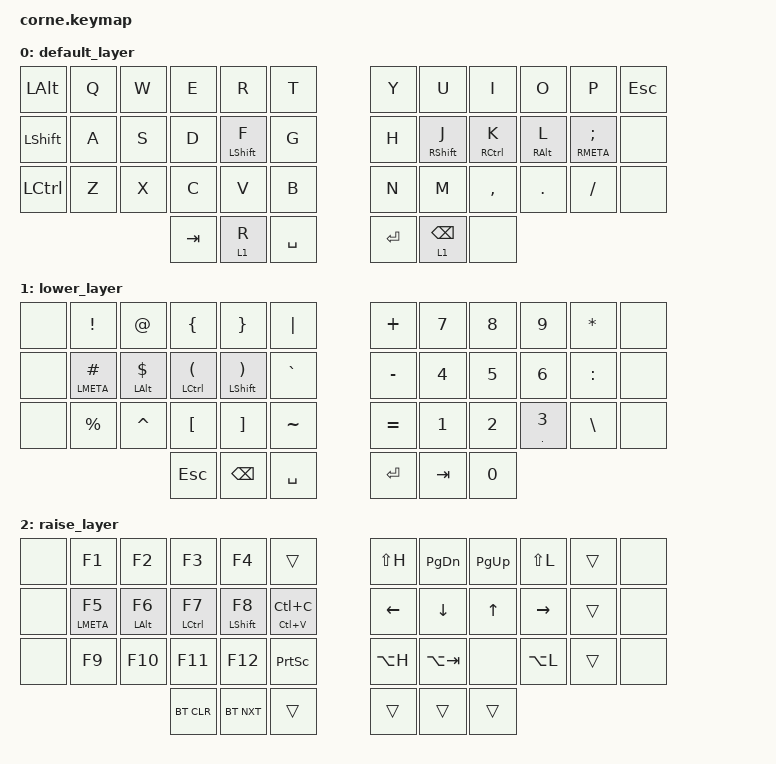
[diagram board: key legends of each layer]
/*
 * Copyright (c) 2020 The ZMK Contributors
 *
 * SPDX-License-Identifier: MIT
 */

#include <behaviors.dtsi>
#include <dt-bindings/zmk/keys.h>
#include <dt-bindings/zmk/bt.h>

/ {
    behaviors {
        weak: weak {
            compatible = "zmk,behavior-hold-tap";
            label = "WEAK";
            bindings = <&kp>, <&kp>;

            #binding-cells = <2>;
            tapping-term-ms = <230>;
            flavor = "tap-preferred";
            require-prior-idle-ms = <125>;
            quick-tap-ms = <230>;
        };

        shifthr: shifthr {
            compatible = "zmk,behavior-hold-tap";
            label = "SHIFTHR";
            bindings = <&kp>, <&kp>;

            #binding-cells = <2>;
            tapping-term-ms = <185>;
            flavor = "tap-preferred";
            quick-tap-ms = <185>;
        };

        hm: homerow_mods {
            compatible = "zmk,behavior-hold-tap";
            label = "HOMEROW_MODS";
            bindings = <&kp>, <&kp>;

            #binding-cells = <2>;
            tapping-term-ms = <200>;
            flavor = "tap-preferred";
            require-prior-idle-ms = <125>;
            quick-tap-ms = <200>;
        };
    };

        keymap {
                compatible = "zmk,keymap";

                default_layer {
// -----------------------------------------------------------------------------------------
// |  ALT |  Q  |  W  |  E  |  R  |  T  |   |  Y  |  U  |  I  |  O  |  P  |      |
// | SHFT |  A  |  S  |  D  |  F  |  G  |   |  H  |  J  |  K  |  L  |  ;  |      |
// | CTRL |  Z  |  X  |  C  |  V  |  B  |   |  N  |  M  |  ,  |  .  |  /  |      |
//                    | TAB | LWR | SPC |   | ENT | RSE | BSC |
// -----------------------------------------------------------------------------------------
// |      |     |     |     |     |     |   |     |     |     |     |     |      |
// |      | WIN | ALT | CTL | SHF |     |   |     | SHF | CTL | ALT | WIN |      |
// |      |     |     |     |     |     |   |     |     |     |     |     |      |
//                    |     |     |     |   |     |     |     |

                        bindings = <
   &kp LALT &kp Q         &kp W            &kp E            &kp R             &kp T        &kp Y     &kp U             &kp I            &kp O        &kp P         &kp ESC
   &kp LSHIFT &kp A         &kp S            &kp D            &shifthr LSHIFT F &kp G        &kp H     &shifthr RSHIFT J &shifthr RCTRL K &weak RALT L &weak RMETA SEMI &none
   &kp LCTRL &kp Z         &kp X            &kp C             &kp V             &kp B        &kp N     &kp M             &kp COMMA        &kp DOT      &kp FSLH      &none
                                        &kp TAB          &lt 1 R           &kp SPACE &kp RET      &lt 1 BACKSPACE   &none
                        >;
                };
                lower_layer {
// -----------------------------------------------------------------------------------------
// |      |  !  |  @  |  {  |  }  |  |  |   |  +  |  7  |  8  |  9  |  *  |      |
// |      |  #  |  $  |  (  |  )  |  `  |   |  -  |  4  |  5  |  6  |  :  |      |
// |      |  %  |  ^  |  [  |  ]  |  ~  |   |  =  |  1  |  2  |  3  |  \  |      |
//                    | ESC | BSP | SPC |   | ENT | TAB |  0  |
                        bindings = <
   &none &kp EXCL       &kp AT          &kp LBRC       &kp RBRC        &kp PIPE  &kp PLUS  &kp N7  &kp N8 &kp N9             &kp ASTERISK  &none
   &none &hm LMETA HASH &hm LALT DOLLAR &hm LCTRL LPAR &hm LSHIFT RPAR &kp GRAVE &kp MINUS &kp N4  &kp N5 &kp N6             &kp COLON     &none
   &none &kp PERCENT    &kp CARET       &kp LBKT       &kp RBKT        &kp TILDE &kp EQUAL &kp N1  &kp N2 &shifthr PERIOD N3 &kp BACKSLASH &none
                                        &kp ESC        &kp BACKSPACE   &kp SPACE &kp RET    &kp TAB &kp N0
                        >;
                };

                raise_layer {
// -----------------------------------------------------------------------------------------
// |      | F1  | F2  | F3  | F4  |     |   | SH  | PUP | PDN | SL  |     |      |
// |      | F5  | F6  | F7  | F8  | CPP |   | <-  | DWN | UP  | ->  |     |      |
// |      | F9  | F10 | F11 | F12 | PSC |   | AH  | ATB |     | AL  |     |      |
//                    | CLR | NXT |     |   |     |     |     |
                        bindings = <
   &none &kp F1       &kp F2      &kp F3       &kp F4        &trans          &kp LS(H)   &kp PG_DN   &kp PG_UP &kp LS(L) &trans &none
   &none &hm LMETA F5 &hm LALT F6 &hm LCTRL F7 &hm LSHIFT F8 &hm LC(V) LC(C) &kp LEFT    &kp DOWN    &kp UP    &kp RIGHT &trans &none
   &none &kp F9       &kp F10     &kp F11         &kp F12       &kp PSCRN       &kp LA(H)   &kp LA(TAB) &none     &kp LA(L) &trans &none
                                  &bt BT_CLR   &bt BT_NXT    &trans          &trans      &trans      &trans
                        >;
                };
        };
};
